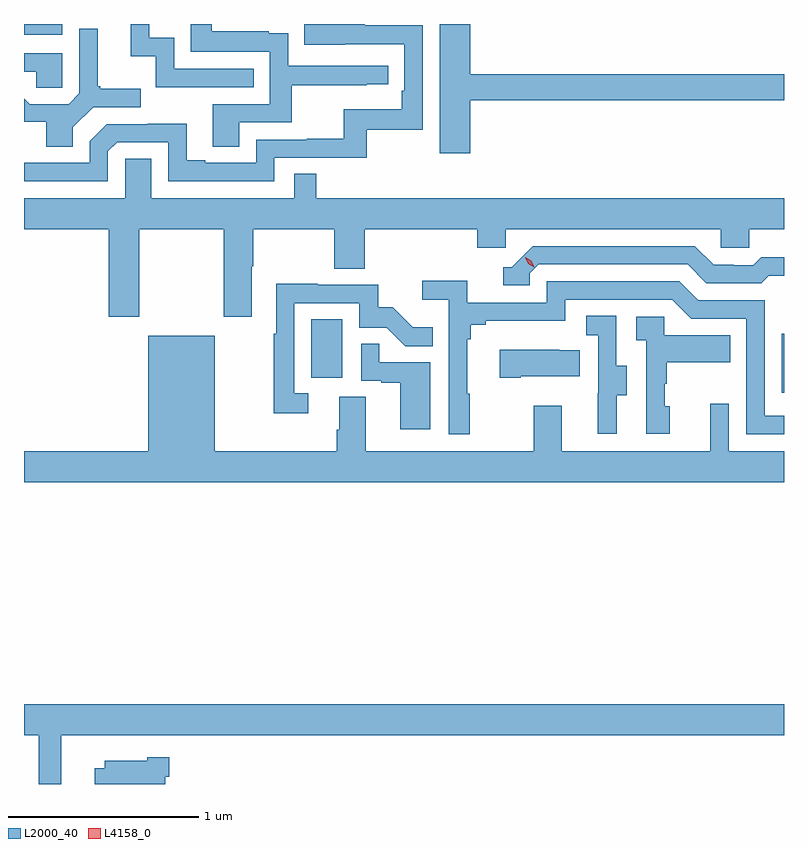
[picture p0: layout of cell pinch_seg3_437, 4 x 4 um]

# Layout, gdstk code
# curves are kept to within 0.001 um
import gdstk
lib = gdstk.Library(unit=1e-6, precision=1e-09)
def R(c, l, rs):  # rectangles x0, y0, x1, y1
    for r in rs: c.add(gdstk.rectangle(r[:2], r[2:], *l))
def P(c, l, *ps):  # polygons
    for p in ps: c.add(gdstk.Polygon(p, *l))
L2000_40 = (2000, 40)
L4158_0 = (4158, 0)

pinch_seg3_437 = lib.new_cell('pinch_seg3_437')
R(pinch_seg3_437, L2000_40, [(929.478,684.072,929.49,684.382), (927.002,684.15,927.166,684.457), (925.49,685.956,925.692,686.012)])
P(pinch_seg3_437, L2000_40, [(926.699,685.776),(926.28,685.776),(926.28,685.939),(926.148,685.939),(926.148,686.012),(926.051,686.012),(926.051,685.841),(926.184,685.841),(926.184,685.68),(926.699,685.68)],
  [(926.623,685.494),(926.9,685.494),(926.9,685.69),(927.293,685.69),(927.293,685.695),(927.406,685.695),(927.406,685.791),(926.88,685.791),(926.88,685.963),(926.777,685.963),(926.777,685.975),(926.479,685.975),(926.479,686.012),(926.368,686.012),(926.368,685.866),(926.784,685.866),(926.784,685.59),(926.483,685.59),(926.483,685.366),(926.623,685.366)],
  [(927.838,685.612),(929.49,685.612),(929.49,685.748),(927.838,685.748),(927.838,686.012),(927.677,686.012),(927.677,685.332),(927.838,685.332)],
  [(925.932,685.341),(925.98,685.389),(926.25,685.389),(926.25,685.185),(926.808,685.185),(926.808,685.308),(927.295,685.308),(927.295,685.455),(927.588,685.455),(927.588,686.006),(927.283,686.006),(927.283,686.012),(926.965,686.012),(926.965,685.904),(927.492,685.905),(927.492,685.66),(927.479,685.66),(927.479,685.564),(927.174,685.564),(927.174,685.409),(926.977,685.409),(926.977,685.404),(926.712,685.404),(926.712,685.281),(926.443,685.281),(926.443,685.294),(926.347,685.294),(926.347,685.487),(926.142,685.487),(926.142,685.485),(925.926,685.485),(925.836,685.395),(925.836,685.281),(925.49,685.281),(925.49,685.185),(925.932,685.185)],
  [(925.747,685.468),(925.854,685.575),(926.104,685.575),(926.104,685.672),(925.891,685.672),(925.891,685.684),(925.879,685.684),(925.879,685.987),(925.782,685.987),(925.782,685.647),(925.725,685.59),(925.519,685.59),(925.49,685.619),(925.49,685.498),(925.607,685.498),(925.607,685.366),(925.747,685.366)],
  [(925.692,685.857),(925.49,685.857),(925.49,685.761),(925.555,685.761),(925.555,685.677),(925.692,685.677)],
  [(926.097,684.932),(926.542,684.932),(926.542,684.471),(926.689,684.471),(926.689,684.736),(926.697,684.736),(926.697,684.932),(927.124,684.932),(927.124,684.724),(927.284,684.724),(927.284,684.932),(927.875,684.932),(927.875,684.834),(928.026,684.834),(928.026,684.932),(929.157,684.932),(929.157,684.834),(929.307,684.834),(929.307,684.932),(929.49,684.932),(929.49,685.096),(927.029,685.096),(927.029,685.223),(926.913,685.223),(926.913,685.096),(926.161,685.096),(926.161,685.304),(926.022,685.304),(926.022,685.096),(925.49,685.096),(925.49,684.932),(925.937,684.932),(925.937,684.471),(926.097,684.471)],
  [(928.152,684.699),(928.2,684.747),(928.983,684.747),(929.082,684.648),(929.371,684.648),(929.41,684.687),(929.49,684.687),(929.49,684.784),(929.371,684.784),(929.329,684.741),(929.226,684.741),(929.226,684.744),(929.119,684.744),(929.02,684.843),(928.167,684.843),(928.056,684.732),(928.013,684.732),(928.013,684.636),(928.152,684.636)],
  [(927.835,684.065),(927.823,684.065),(927.823,684.353),(927.842,684.353),(927.842,684.43),(927.919,684.43),(927.919,684.449),(928.338,684.449),(928.338,684.561),(928.902,684.561),(929.001,684.462),(929.292,684.462),(929.292,683.853),(929.49,683.853),(929.49,683.949),(929.388,683.949),(929.388,684.558),(929.038,684.558),(928.939,684.657),(928.242,684.657),(928.242,684.546),(927.824,684.546),(927.824,684.662),(927.585,684.662),(927.585,684.56),(927.726,684.56),(927.726,683.853),(927.835,683.853)],
  [(926.986,684.069),(926.913,684.069),(926.913,684.543),(927.255,684.543),(927.255,684.414),(927.399,684.414),(927.497,684.316),(927.641,684.316),(927.641,684.415),(927.537,684.415),(927.43,684.522),(927.354,684.522),(927.354,684.639),(927.035,684.639),(927.035,684.644),(926.817,684.644),(926.817,684.383),(926.805,684.383),(926.805,683.964),(926.986,683.964)],
  [(928.609,684.058),(928.663,684.058),(928.663,684.213),(928.608,684.213),(928.608,684.476),(928.449,684.476),(928.449,684.373),(928.512,684.373),(928.512,684.069),(928.511,684.069),(928.511,683.856),(928.609,683.856)],
  [(928.888,684),(928.863,684),(928.863,684.119),(928.873,684.119),(928.873,684.233),(929.207,684.233),(929.207,684.373),(928.86,684.373),(928.86,684.471),(928.713,684.471),(928.713,684.347),(928.764,684.347),(928.764,683.856),(928.888,683.856)],
  [(929.49,683.764),(929.199,683.764),(929.199,684.013),(929.102,684.013),(929.102,683.764),(928.321,683.764),(928.321,684.004),(928.174,684.004),(928.174,683.764),(927.289,683.764),(927.289,684.05),(927.149,684.05),(927.149,683.876),(927.137,683.876),(927.137,683.764),(926.494,683.764),(926.494,684.37),(926.144,684.37),(926.144,683.764),(925.49,683.764),(925.49,683.6),(929.49,683.6)],
  [(927.628,684.231),(927.359,684.231),(927.359,684.329),(927.264,684.329),(927.264,684.135),(927.371,684.135),(927.371,684.123),(927.47,684.123),(927.47,683.88),(927.628,683.88)],
  [(928.105,684.158),(928.415,684.158),(928.415,684.295),(928.307,684.295),(928.307,684.298),(927.993,684.298),(927.993,684.151),(928.105,684.151)],
  [(925.686,682.268),(929.49,682.268),(929.49,682.432),(925.49,682.432),(925.49,682.268),(925.567,682.268),(925.567,682.012),(925.686,682.012)],
  [(926.233,682.049),(926.255,682.049),(926.255,682.153),(926.139,682.153),(926.139,682.135),(925.916,682.135),(925.916,682.096),(925.862,682.096),(925.862,682.012),(926.233,682.012)])
P(pinch_seg3_437, L4158_0, [(928.175,684.732),(928.144,684.751),(928.128,684.784),(928.128,684.784),(928.128,684.784),(928.159,684.765),(928.175,684.733),(928.175,684.732)])

lib.write_gds('pinch_seg3_437.gds')
